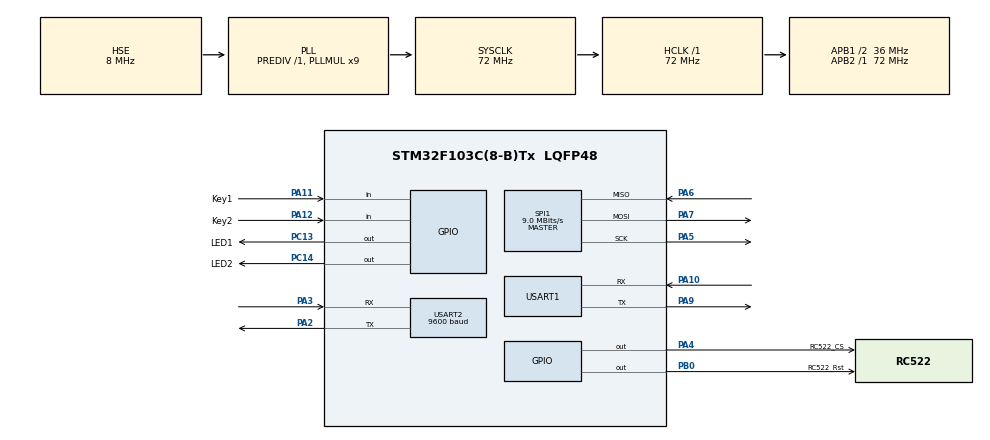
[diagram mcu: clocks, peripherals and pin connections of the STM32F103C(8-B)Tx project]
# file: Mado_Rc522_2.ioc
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Dma.Request0=USART2_TX
Dma.Request1=USART2_RX
Dma.USART2_RX.1.Direction=DMA_PERIPH_TO_MEMORY
Dma.USART2_RX.1.Instance=DMA1_Channel6
Dma.USART2_RX.1.MemDataAlignment=DMA_MDATAALIGN_BYTE
Dma.USART2_RX.1.MemInc=DMA_MINC_ENABLE
Dma.USART2_RX.1.Mode=DMA_CIRCULAR
Dma.USART2_RX.1.PeriphDataAlignment=DMA_PDATAALIGN_BYTE
Dma.USART2_RX.1.PeriphInc=DMA_PINC_DISABLE
Dma.USART2_RX.1.Priority=DMA_PRIORITY_LOW
Dma.USART2_TX.0.Direction=DMA_MEMORY_TO_PERIPH
Dma.USART2_TX.0.Instance=DMA1_Channel7
Dma.USART2_TX.0.MemDataAlignment=DMA_MDATAALIGN_BYTE
Dma.USART2_TX.0.MemInc=DMA_MINC_ENABLE
Dma.USART2_TX.0.Mode=DMA_NORMAL
Dma.USART2_TX.0.PeriphDataAlignment=DMA_PDATAALIGN_BYTE
Dma.USART2_TX.0.PeriphInc=DMA_PINC_DISABLE
Dma.USART2_TX.0.Priority=DMA_PRIORITY_LOW
Mcu.Family=STM32F1
Mcu.Name=STM32F103C(8-B)Tx
Mcu.Package=LQFP48
NVIC.DMA1_Channel6_IRQn=true\:0\:0\:false\:false\:true\:false\:true\:true
NVIC.DMA1_Channel7_IRQn=true\:0\:0\:false\:false\:true\:false\:true\:true
NVIC.PriorityGroup=NVIC_PRIORITYGROUP_4
NVIC.USART2_IRQn=true\:0\:0\:false\:false\:true\:true\:true\:true
PA10.Mode=Asynchronous
PA10.Signal=USART1_RX
PA11.GPIO_Label=Key1
PA11.GPIO_PuPd=GPIO_NOPULL
PA11.Signal=GPIO_Input
PA12.GPIO_Label=Key2
PA12.GPIO_PuPd=GPIO_NOPULL
PA12.Signal=GPIO_Input
PA13.Mode=Serial_Wire
PA13.Signal=SYS_JTMS-SWDIO
PA14.Mode=Serial_Wire
PA14.Signal=SYS_JTCK-SWCLK
PA2.Mode=Asynchronous
PA2.Signal=USART2_TX
PA3.Mode=Asynchronous
PA3.Signal=USART2_RX
PA4.GPIO_Label=RC522_CS
PA4.Signal=GPIO_Output
PA5.Mode=Full_Duplex_Master
PA5.Signal=SPI1_SCK
PA6.Mode=Full_Duplex_Master
PA6.Signal=SPI1_MISO
PA7.Mode=Full_Duplex_Master
PA7.Signal=SPI1_MOSI
PA9.Mode=Asynchronous
PA9.Signal=USART1_TX
PB0.GPIO_Label=RC522_Rst
PB0.Signal=GPIO_Output
PC13-TAMPER-RTC.GPIO_Label=LED1
PC13-TAMPER-RTC.Signal=GPIO_Output
PC14-OSC32_IN.GPIO_Label=LED2
PC14-OSC32_IN.Signal=GPIO_Output
PD0-OSC_IN.Mode=HSE-External-Oscillator
PD0-OSC_IN.Signal=RCC_OSC_IN
PD1-OSC_OUT.Mode=HSE-External-Oscillator
PD1-OSC_OUT.Signal=RCC_OSC_OUT
ProjectManager.HeapSize=0x200
ProjectManager.StackSize=0x400
ProjectManager.TargetToolchain=STM32CubeIDE
RCC.AHBFreq_Value=72000000
RCC.APB1CLKDivider=RCC_HCLK_DIV2
RCC.APB1Freq_Value=36000000
RCC.APB1TimFreq_Value=72000000
RCC.APB2Freq_Value=72000000
RCC.APB2TimFreq_Value=72000000
RCC.HCLKFreq_Value=72000000
RCC.PLLMUL=RCC_PLL_MUL9
RCC.PLLSourceVirtual=RCC_PLLSOURCE_HSE
RCC.SYSCLKFreq_VALUE=72000000
RCC.SYSCLKSource=RCC_SYSCLKSOURCE_PLLCLK
RCC.USBFreq_Value=72000000
SPI1.BaudRatePrescaler=SPI_BAUDRATEPRESCALER_8
SPI1.CalculateBaudRate=9.0 MBits/s
SPI1.Direction=SPI_DIRECTION_2LINES
SPI1.Mode=SPI_MODE_MASTER
SPI1.VirtualType=VM_MASTER
USART1.VirtualMode=VM_ASYNC
USART2.BaudRate=9600
USART2.VirtualMode=VM_ASYNC
board=custom

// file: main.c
/* USER CODE BEGIN Header */
/**
  ******************************************************************************
  * @file           : main.c
  * @brief          : Main program body
  ******************************************************************************
  * @attention
  *
  * Copyright (c) 2024 STMicroelectronics.
  * All rights reserved.
  *
  * This software is licensed under terms that can be found in the LICENSE file
  * in the root directory of this software component.
  * If no LICENSE file comes with this software, it is provided AS-IS.
  *
  ******************************************************************************
  */
/* USER CODE END Header */
#include "main.h"
#include "dma.h"
#include "spi.h"
#include "usart.h"
#include "gpio.h"

/* USER CODE BEGIN Includes */
#include <string.h>
#include "lcd.h"
#include "stdio.h"
#include "delay.h"
#include "MFRC522.h"
#include "dfplayer.h"
/* USER CODE END Includes */

/* USER CODE BEGIN PV */

uint8_t status;
uint8_t str[MAX_LEN]; // Max_LEN = 16
uint8_t sNum[5];

#ifdef __cplusplus
 extern "C" {
#endif
/* USER CODE END PV */

void SystemClock_Config(void);
/* USER CODE BEGIN PFP */
/* Private function prototypes -----------------------------------------------*/
#ifdef __GNUC__
/* With GCC, small printf (option LD Linker->Libraries->Small printf
   set to 'Yes') calls __io_putchar() */
#define PUTCHAR_PROTOTYPE int __io_putchar(int ch)
#else
#define PUTCHAR_PROTOTYPE int fputc(int ch, FILE *f)
#endif /* __GNUC__ */

PUTCHAR_PROTOTYPE
{
  HAL_UART_Transmit(&huart1, (uint8_t *)&ch, 1, HAL_MAX_DELAY);
  return ch;
}

#ifdef __cplusplus
}
#endif
/* USER CODE END PFP */

int main(void)
{

  /* MCU Configuration--------------------------------------------------------*/

  /* Reset of all peripherals, Initializes the Flash interface and the Systick. */
  HAL_Init();

  /* Configure the system clock */
  SystemClock_Config();

  /* Initialize all configured peripherals */
  MX_GPIO_Init();
  MX_DMA_Init();
  MX_SPI1_Init();
  MX_USART1_UART_Init();
  MX_USART2_UART_Init();
  /* USER CODE BEGIN 2 */
  /* USER CODE BEGIN 2 */
  MFRC522_Init();

	dfplayer_SetSource(PLAYBACK_SOURCE_TF); /* 저장장치 SD카드로 설정 */
	dfplayer_SetVolume(10); /* 초기 볼륨 10으로 설정 */
	dfplayer_SetEQ(EQ_CLASSIC); /* EQ를 �?�래�?으로 설정 */
	dfplayer_SetTrakNumber(2);
	 dfplayer_Play();
    //
  /* USER CODE END 2 */

  /* Infinite loop */
  while (1)
  {

    /* USER CODE BEGIN 3 */

	  //HAL_Delay(1000);

	  status = MFRC522_Request(PICC_REQIDL, str);
	    status = MFRC522_Anticoll(str);
	    memcpy(sNum, str, 5);
	    HAL_Delay(100);
	     if((str[0]==0x49) && (str[1]==0x3D) && (str[2]==0xf6) && (str[3]==0x97) && (str[4]==0x15) )
	     {
	       HAL_GPIO_WritePin(GPIOC,GPIO_PIN_13,0);
		   	dfplayer_SetTrakNumber(1);
		   	 dfplayer_Play();
	       HAL_Delay(1000);

	       }
	     else if((str[0]==0xa7) && (str[1]==0xf8) && (str[2]==0x80) && (str[3]==0x60) && (str[4]==0xbf) )
	       {
	       HAL_GPIO_WritePin(GPIOC,GPIO_PIN_13,0);
	   	dfplayer_SetTrakNumber(2);
	   	 dfplayer_Play();
	       HAL_Delay(2000);
	     }
	     else
	     {
	       HAL_GPIO_WritePin(GPIOC,GPIO_PIN_13,1);
	     }
  }
  /* USER CODE END 3 */
}

void SystemClock_Config(void)
{
  RCC_OscInitTypeDef RCC_OscInitStruct = {0};
  RCC_ClkInitTypeDef RCC_ClkInitStruct = {0};

  /** Initializes the RCC Oscillators according to the specified parameters
  * in the RCC_OscInitTypeDef structure.
  */
  RCC_OscInitStruct.OscillatorType = RCC_OSCILLATORTYPE_HSE;
  RCC_OscInitStruct.HSEState = RCC_HSE_ON;
  RCC_OscInitStruct.HSEPredivValue = RCC_HSE_PREDIV_DIV1;
  RCC_OscInitStruct.HSIState = RCC_HSI_ON;
  RCC_OscInitStruct.PLL.PLLState = RCC_PLL_ON;
  RCC_OscInitStruct.PLL.PLLSource = RCC_PLLSOURCE_HSE;
  RCC_OscInitStruct.PLL.PLLMUL = RCC_PLL_MUL9;
  if (HAL_RCC_OscConfig(&RCC_OscInitStruct) != HAL_OK)
  {
    Error_Handler();
  }

  /** Initializes the CPU, AHB and APB buses clocks
  */
  RCC_ClkInitStruct.ClockType = RCC_CLOCKTYPE_HCLK|RCC_CLOCKTYPE_SYSCLK
                              |RCC_CLOCKTYPE_PCLK1|RCC_CLOCKTYPE_PCLK2;
  RCC_ClkInitStruct.SYSCLKSource = RCC_SYSCLKSOURCE_PLLCLK;
  RCC_ClkInitStruct.AHBCLKDivider = RCC_SYSCLK_DIV1;
  RCC_ClkInitStruct.APB1CLKDivider = RCC_HCLK_DIV2;
  RCC_ClkInitStruct.APB2CLKDivider = RCC_HCLK_DIV1;

  if (HAL_RCC_ClockConfig(&RCC_ClkInitStruct, FLASH_LATENCY_2) != HAL_OK)
  {
    Error_Handler();
  }
}

void Error_Handler(void)
{
  __disable_irq();
  while (1)
  {
  }
}
